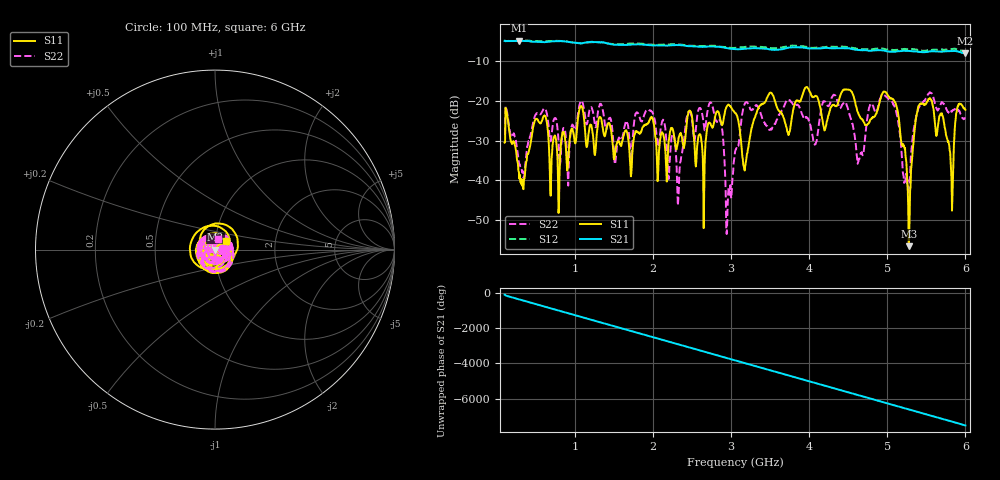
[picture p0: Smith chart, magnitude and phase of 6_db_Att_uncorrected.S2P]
!Created with skrf (http://scikit-rf.org).
# MHz S RI R 50.0
!freq ReS11 ImS11 ReS21 ImS21 ReS12 ImS12 ReS22 ImS22
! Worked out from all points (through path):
!   1001 points, 100 MHz to 6 GHz, reference 50 ohm
!   highest |S21| = -4.79 dB at 282.9 MHz (marker M1); lowest = -8.0 dB at 6 GHz (marker M2)
!   lowest |S11| = -56.7 dB at 5.274 GHz (marker M3), VSWR 1.00, Z = 50.1 - j0.0205 ohm
!   |S11| at or under -10 dB: start of sweep to end of sweep
!   |S22| runs from -53.6 to -17.8 dB; largest |S21 - S12| = 0.52
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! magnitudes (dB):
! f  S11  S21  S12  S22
! 100 MHz  -30.5  -4.8  -4.8  -28.3
! 282.9 MHz  -37.9  -4.8  -4.8  -35.5
! 601.5 MHz  -23.8  -5.1  -4.9  -21.9
! 914.2 MHz  -35.1  -5.1  -5.1  -41.4
! 1.085 GHz  -21.4  -5.4  -5.4  -20.0
! 2.071 GHz  -35.8  -6.0  -5.8  -31.5
! 2.33 GHz  -29.1  -5.9  -5.7  -42.7
! 2.448 GHz  -23.5  -6.2  -6.0  -23.0
! 2.649 GHz  -52.1  -6.3  -6.1  -25.9
! 2.743 GHz  -26.2  -6.2  -6.1  -20.4
! 2.962 GHz  -20.9  -6.7  -6.5  -43.5
! 3.05 GHz  -23.0  -6.9  -6.6  -32.9
! 3.174 GHz  -37.6  -6.8  -6.4  -20.8
! 3.487 GHz  -18.3  -7.0  -6.6  -27.3
! 4.035 GHz  -18.9  -6.7  -6.6  -28.0
! 4.324 GHz  -21.2  -6.7  -6.3  -18.5
! 4.637 GHz  -23.5  -7.1  -6.9  -34.6
! 5.021 GHz  -18.9  -7.5  -7.0  -19.6
! 5.274 GHz  -56.7  -7.4  -6.9  -41.9
! 5.416 GHz  -20.8  -7.6  -7.2  -21.3
! 5.823 GHz  -40.0  -7.4  -6.9  -22.7
! 6 GHz  -22.2  -8.0  -7.4  -24.3
